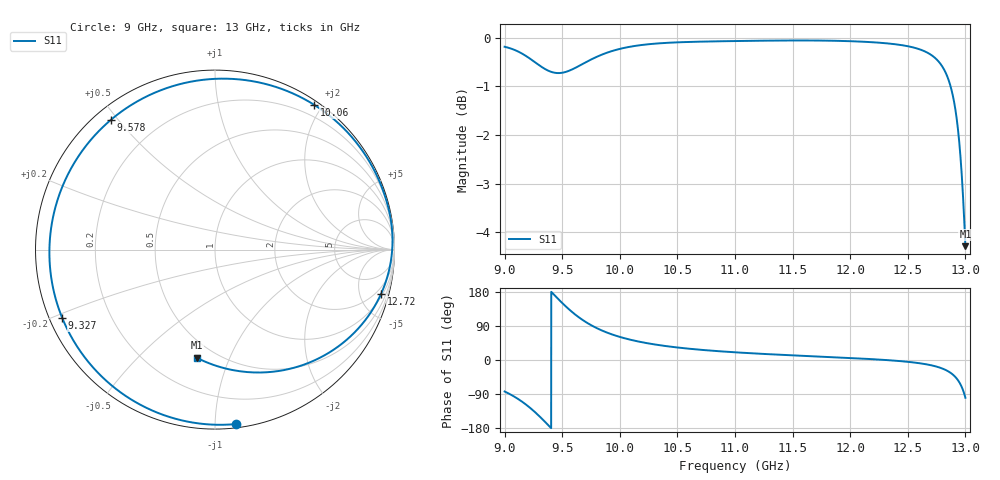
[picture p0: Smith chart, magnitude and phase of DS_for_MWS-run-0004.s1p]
! TOUCHSTONE file generated by CST DESIGN STUDIO
! Date and time: Tue Feb  4 17:22:49 2025
! Project name: C:\Work\MatlabApps\UnitCellOptimizationMatlab\CST\unitcell.cst
! Tree item: Tasks\Sweep1\SPara1\S-Parameters
! Header version: 2024
! Port assignment regex: !\s*Touchstone port\s*([0-9]+)\s*=\s*(CST MWS port|CST DES external port|CST DES block port)\s*(.+)\s* \(\"(.*)\"\)(\s*mode\s*([0-9]+))?.*
! Touchstone port assignment:
! Touchstone port 1 = CST DES external port 1 ("")
# GHz S MA R 50
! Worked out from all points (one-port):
!   4001 points, 9 GHz to 13 GHz, reference 50 ohm
!   lowest |S11| = -4.3 dB at 13 GHz (marker M1), VSWR 4.14, Z = 19.9 - j38.2 ohm
!   |S11| at or under -10 dB: nowhere
!   S11 on the Smith chart (normalised r, x): 9 GHz: 0.02, -1.13; 9.327 GHz: 0.04, -0.21; 9.578 GHz: 0.05, +0.48; 10.06 GHz: 0.05, +1.90; 12.72 GHz: 1.25, -7.42; 13 GHz: 0.40, -0.76
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9  0.979 -83.1
9.097  0.9705 -99.0
9.177  0.9593 -115.6
9.251  0.9462 -134.1
9.327  0.9325 -155.9
9.37  0.9262 -169.1
9.412  0.9219 177.6
9.455  0.92 164.1
9.5  0.9206 150.4
9.578  0.9269 128.7
9.655  0.9368 110.3
9.742  0.9488 93.4
9.866  0.9632 75.1
10  0.9741 60.9
10.065  0.9779 55.5
10.257  0.9851 43.3
10.5  0.9893 33.0
11  0.9923 20.3
11.5  0.9937 12.3
12  0.992 5.2
12.5  0.9803 -4.8
12.718  0.9574 -14.9
12.822  0.9242 -25.4
12.893  0.87 -39.0
12.919  0.8349 -46.9
12.942  0.7918 -56.3
12.97  0.718 -72.4
13  0.6108 -99.7
